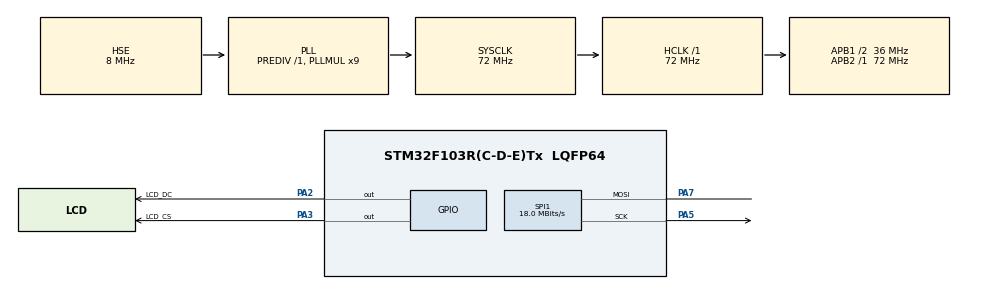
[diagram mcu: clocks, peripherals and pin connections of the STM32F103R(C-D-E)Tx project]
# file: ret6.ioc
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Mcu.Family=STM32F1
Mcu.Name=STM32F103R(C-D-E)Tx
Mcu.Package=LQFP64
NVIC.PriorityGroup=NVIC_PRIORITYGROUP_4
PA13.Mode=Serial_Wire
PA13.Signal=SYS_JTMS-SWDIO
PA14.Mode=Serial_Wire
PA14.Signal=SYS_JTCK-SWCLK
PA2.GPIO_Label=LCD_DC
PA2.Signal=GPIO_Output
PA3.GPIO_Label=LCD_CS
PA3.Signal=GPIO_Output
PA5.Mode=Simplex_Bidirectional_Master
PA5.Signal=SPI1_SCK
PA7.Mode=Simplex_Bidirectional_Master
PA7.Signal=SPI1_MOSI
PD0-OSC_IN.Mode=HSE-External-Oscillator
PD0-OSC_IN.Signal=RCC_OSC_IN
PD1-OSC_OUT.Mode=HSE-External-Oscillator
PD1-OSC_OUT.Signal=RCC_OSC_OUT
ProjectManager.HeapSize=0x200
ProjectManager.StackSize=0x400
ProjectManager.TargetToolchain=EWARM V8.32
RCC.AHBFreq_Value=72000000
RCC.APB1CLKDivider=RCC_HCLK_DIV2
RCC.APB1Freq_Value=36000000
RCC.APB1TimFreq_Value=72000000
RCC.APB2Freq_Value=72000000
RCC.APB2TimFreq_Value=72000000
RCC.HCLKFreq_Value=72000000
RCC.PLLMUL=RCC_PLL_MUL9
RCC.PLLSourceVirtual=RCC_PLLSOURCE_HSE
RCC.SYSCLKFreq_VALUE=72000000
RCC.SYSCLKSource=RCC_SYSCLKSOURCE_PLLCLK
RCC.USBFreq_Value=72000000
SPI1.BaudRatePrescaler=SPI_BAUDRATEPRESCALER_4
SPI1.CalculateBaudRate=18.0 MBits/s
SPI1.Direction=SPI_DIRECTION_1LINE
SPI1.Mode=SPI_MODE_MASTER
SPI1.VirtualType=VM_MASTER
TIM1.Prescaler=72-1
VP_TIM1_VS_ClockSourceINT.Mode=Internal
board=custom

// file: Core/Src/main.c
/* USER CODE BEGIN Header */
/**
  ******************************************************************************
  * @file           : main.c
  * @brief          : Main program body
  ******************************************************************************
  * @attention
  *
  * Copyright (c) 2025 STMicroelectronics.
  * All rights reserved.
  *
  * This software is licensed under terms that can be found in the LICENSE file
  * in the root directory of this software component.
  * If no LICENSE file comes with this software, it is provided AS-IS.
  *
  ******************************************************************************
  */
/* USER CODE END Header */
#include "main.h"

/* USER CODE BEGIN Includes */
#include "stdio.h"
#include "ILI9488_SPI.h"
#include "XPT2046.h"
#include "Font.h"
#include "AF12x16.h"
#include "image.h"
#include "startShow.h"
/* USER CODE END Includes */

SPI_HandleTypeDef hspi1;

TIM_HandleTypeDef htim1;

/* USER CODE BEGIN PV */
char str[100];
uint16_t x,y;
int i;
char test[100];
int len;
/* USER CODE END PV */

void SystemClock_Config(void);
static void MX_GPIO_Init(void);
static void MX_SPI1_Init(void);
static void MX_TIM1_Init(void);

int main(void)
{

  /* MCU Configuration--------------------------------------------------------*/

  /* Reset of all peripherals, Initializes the Flash interface and the Systick. */
  HAL_Init();

  /* Configure the system clock */
  SystemClock_Config();

  /* Initialize all configured peripherals */
  MX_GPIO_Init();
  MX_SPI1_Init();
  MX_TIM1_Init();
  /* USER CODE BEGIN 2 */
  HAL_TIM_Base_Start_IT(&htim1);
  ILI9488_Init();

  LcdFont(AF12x16);
  SetLetter(E_LETTER);
  LcdFontXScale(1);
  LcdFontYScale(1);
  ILI9488_Set_Rotation(4);
  ILI9488_Fill_Screen(BLACK);
  //  drawImage(140,225,30,30,logo);
  //  HAL_Delay(500);
  drawImage(0,0,41,175,logo2);

  HAL_Delay(1000);

  LcdFontXScale(2);
  LcdFontYScale(2);

  ILI9488_Fill_Screen(WHITE);
  SetLetter(P_LETTER);
  LcdFontXScale(2);
  LcdFontYScale(2);
  //ILI9488_Set_Rotation(0);
  DrawStringAt(0,0,"سلام",BLACK,WHITE);
  DrawStringAt(1,0,"خوش اومدی",WHITE,BLACK);
  DrawStringAt(2,0,"عمو هوای سر",WHITE,BLACK);
   HAL_Delay(1000);
   ILI9488_Set_Rotation(4);
//  SetLetter(E_LETTER);
//  DrawStringAt(0,0," pavantech.ir ",BLACK,WHITE);
//  DrawStringAt(1,0," TFT ILI9488 ",WHITE,MAROON);
//  DrawStringAt(2,0," STM32F103 ",WHITE,PINK);
//  HAL_Delay(3000);
//  LcdFontXScale(3);
//  LcdFontYScale(3);
//  ILI9488_Fill_Screen(BLACK);
//  SetLetter(P_LETTER);
//  DrawStringAt(0,0," پاوان تکنولوژی ",WHITE,BLACK);
//  DrawStringAt(1,0," ردیاب خودرو ",WHITE,BLACK);
//  SetLetter(E_LETTER);
//  DrawStringAt(3,0," pavantech.ir ",BLACK,WHITE);
//  DrawStringAt(4,0," TFT ILI9488 ",WHITE,MAROON);
//  DrawStringAt(5,0," STM32F103 ",WHITE,PINK);
//  HAL_Delay(1000);
  /* USER CODE END 2 */

  /* Infinite loop */
  while (1)
  {

  }
}

void SystemClock_Config(void)
{
  RCC_OscInitTypeDef RCC_OscInitStruct = {0};
  RCC_ClkInitTypeDef RCC_ClkInitStruct = {0};

  /** Initializes the RCC Oscillators according to the specified parameters
  * in the RCC_OscInitTypeDef structure.
  */
  RCC_OscInitStruct.OscillatorType = RCC_OSCILLATORTYPE_HSE;
  RCC_OscInitStruct.HSEState = RCC_HSE_ON;
  RCC_OscInitStruct.HSEPredivValue = RCC_HSE_PREDIV_DIV1;
  RCC_OscInitStruct.HSIState = RCC_HSI_ON;
  RCC_OscInitStruct.PLL.PLLState = RCC_PLL_ON;
  RCC_OscInitStruct.PLL.PLLSource = RCC_PLLSOURCE_HSE;
  RCC_OscInitStruct.PLL.PLLMUL = RCC_PLL_MUL9;
  if (HAL_RCC_OscConfig(&RCC_OscInitStruct) != HAL_OK)
  {
    Error_Handler();
  }

  /** Initializes the CPU, AHB and APB buses clocks
  */
  RCC_ClkInitStruct.ClockType = RCC_CLOCKTYPE_HCLK|RCC_CLOCKTYPE_SYSCLK
                              |RCC_CLOCKTYPE_PCLK1|RCC_CLOCKTYPE_PCLK2;
  RCC_ClkInitStruct.SYSCLKSource = RCC_SYSCLKSOURCE_PLLCLK;
  RCC_ClkInitStruct.AHBCLKDivider = RCC_SYSCLK_DIV1;
  RCC_ClkInitStruct.APB1CLKDivider = RCC_HCLK_DIV2;
  RCC_ClkInitStruct.APB2CLKDivider = RCC_HCLK_DIV1;

  if (HAL_RCC_ClockConfig(&RCC_ClkInitStruct, FLASH_LATENCY_2) != HAL_OK)
  {
    Error_Handler();
  }
}

static void MX_SPI1_Init(void)
{

  /* SPI1 parameter configuration*/
  hspi1.Instance = SPI1;
  hspi1.Init.Mode = SPI_MODE_MASTER;
  hspi1.Init.Direction = SPI_DIRECTION_1LINE;
  hspi1.Init.DataSize = SPI_DATASIZE_8BIT;
  hspi1.Init.CLKPolarity = SPI_POLARITY_LOW;
  hspi1.Init.CLKPhase = SPI_PHASE_1EDGE;
  hspi1.Init.NSS = SPI_NSS_SOFT;
  hspi1.Init.BaudRatePrescaler = SPI_BAUDRATEPRESCALER_4;
  hspi1.Init.FirstBit = SPI_FIRSTBIT_MSB;
  hspi1.Init.TIMode = SPI_TIMODE_DISABLE;
  hspi1.Init.CRCCalculation = SPI_CRCCALCULATION_DISABLE;
  hspi1.Init.CRCPolynomial = 10;
  if (HAL_SPI_Init(&hspi1) != HAL_OK)
  {
    Error_Handler();
  }

}

static void MX_TIM1_Init(void)
{

  TIM_ClockConfigTypeDef sClockSourceConfig = {0};
  TIM_MasterConfigTypeDef sMasterConfig = {0};

  htim1.Instance = TIM1;
  htim1.Init.Prescaler = 72-1;
  htim1.Init.CounterMode = TIM_COUNTERMODE_UP;
  htim1.Init.Period = 65535;
  htim1.Init.ClockDivision = TIM_CLOCKDIVISION_DIV1;
  htim1.Init.RepetitionCounter = 0;
  htim1.Init.AutoReloadPreload = TIM_AUTORELOAD_PRELOAD_DISABLE;
  if (HAL_TIM_Base_Init(&htim1) != HAL_OK)
  {
    Error_Handler();
  }
  sClockSourceConfig.ClockSource = TIM_CLOCKSOURCE_INTERNAL;
  if (HAL_TIM_ConfigClockSource(&htim1, &sClockSourceConfig) != HAL_OK)
  {
    Error_Handler();
  }
  sMasterConfig.MasterOutputTrigger = TIM_TRGO_RESET;
  sMasterConfig.MasterSlaveMode = TIM_MASTERSLAVEMODE_DISABLE;
  if (HAL_TIMEx_MasterConfigSynchronization(&htim1, &sMasterConfig) != HAL_OK)
  {
    Error_Handler();
  }

}

static void MX_GPIO_Init(void)
{
  GPIO_InitTypeDef GPIO_InitStruct = {0};

  /* GPIO Ports Clock Enable */
  __HAL_RCC_GPIOD_CLK_ENABLE();
  __HAL_RCC_GPIOA_CLK_ENABLE();

  /*Configure GPIO pin Output Level */
  HAL_GPIO_WritePin(GPIOA, LCD_DC_Pin|LCD_CS_Pin, GPIO_PIN_RESET);

  /*Configure GPIO pins : LCD_DC_Pin LCD_CS_Pin */
  GPIO_InitStruct.Pin = LCD_DC_Pin|LCD_CS_Pin;
  GPIO_InitStruct.Mode = GPIO_MODE_OUTPUT_PP;
  GPIO_InitStruct.Pull = GPIO_NOPULL;
  GPIO_InitStruct.Speed = GPIO_SPEED_FREQ_LOW;
  HAL_GPIO_Init(GPIOA, &GPIO_InitStruct);

}

void Error_Handler(void)
{
  __disable_irq();
  while (1)
  {
  }
}
